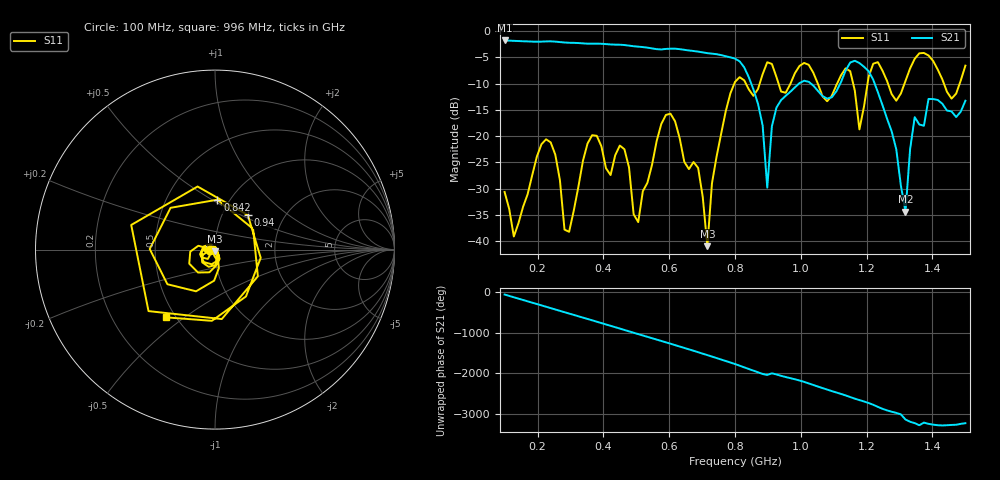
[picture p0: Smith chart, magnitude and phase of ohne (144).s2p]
! NanoVNA-App
! Date: 2025-09-25 14:21:55
! Start: 100MHz Stop: 1,5GHz Points: 101
! S-Parameter data: F S11 S21 S12 S22
# Hz S RI R 50
!  Frequency  S11_Real  S11_Imag  S21_Real  S21_Imag  S12_Real  S12_Imag  S22_Real  S22_Imag
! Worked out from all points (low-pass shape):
!   101 points, 100 MHz to 1.5 GHz, reference 50 ohm
!   highest |S21| = -1.79 dB at 100 MHz (marker M1); lowest = -34.4 dB at 1.318 GHz (marker M2)
!   |S21| within 3 dB of the highest: start of sweep to 771.5 MHz
!   lowest |S11| = -40.9 dB at 716 MHz (marker M3), VSWR 1.02, Z = 49.8 - j0.881 ohm
!   |S11| at or under -10 dB: start of sweep to 798 MHz; 833 MHz to 875.1 MHz (42.01 MHz wide, 4.92 % of centre); 1.052 GHz to 1.11 GHz (58.72 MHz wide, 5.43 % of centre) (the widest 3 of 7)
!   S12 and S22 are empty: the file has one direction only
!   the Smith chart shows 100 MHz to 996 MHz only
!   S11 on the Smith chart (normalised r, x): 100 MHz: 0.94, -0.01; 842 MHz: 0.88, +0.53; 940 MHz: 1.32, +0.55; 996 MHz: 0.44, -0.43
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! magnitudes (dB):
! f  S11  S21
! 100 MHz  -30.6  -1.8
! 128 MHz  -39.1  -1.9
! 226 MHz  -20.6  -2.0
! 296 MHz  -38.2  -2.2
! 338 MHz  -24.7  -2.3
! 464 MHz  -22.5  -2.7
! 506 MHz  -36.4  -3.0
! 576 MHz  -17.7  -3.5
! 688 MHz  -26.0  -3.9
! 716 MHz  -40.9  -4.2
! 800 MHz  -9.7  -5.2
! 842 MHz  -11.1  -8.8
! 898 MHz  -5.9  -29.8
! 940 MHz  -11.5  -13.2
! 996 MHz  -6.6  -9.9
! 1.038 GHz  -7.9  -10.4
! 1.178 GHz  -18.7  -6.1
! 1.22 GHz  -6.2  -9.3
! 1.276 GHz  -12.0  -19.1
! 1.318 GHz  -9.5  -34.4
! 1.346 GHz  -5.3  -16.4
! 1.5 GHz  -6.6  -13.3
